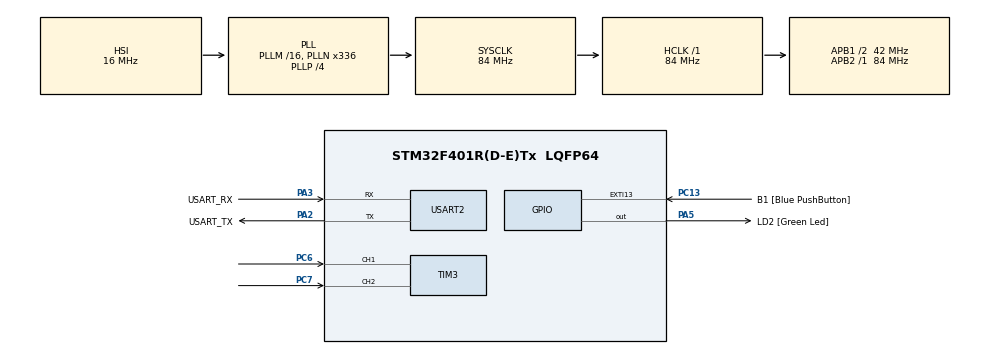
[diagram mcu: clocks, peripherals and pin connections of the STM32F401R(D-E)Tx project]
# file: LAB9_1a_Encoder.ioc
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Mcu.Family=STM32F4
Mcu.Name=STM32F401R(D-E)Tx
Mcu.Package=LQFP64
NVIC.PriorityGroup=NVIC_PRIORITYGROUP_0
NVIC.TIM3_IRQn=true\:0\:0\:false\:false\:true\:true\:true\:true
PA13.GPIO_Label=TMS
PA13.Mode=Serial_Wire
PA13.Signal=SYS_JTMS-SWDIO
PA14.GPIO_Label=TCK
PA14.Mode=Serial_Wire
PA14.Signal=SYS_JTCK-SWCLK
PA2.GPIO_Label=USART_TX
PA2.GPIO_Mode=GPIO_MODE_AF_PP
PA2.GPIO_PuPd=GPIO_NOPULL
PA2.GPIO_Speed=GPIO_SPEED_FREQ_LOW
PA2.Mode=Asynchronous
PA2.Signal=USART2_TX
PA3.GPIO_Label=USART_RX
PA3.GPIO_Mode=GPIO_MODE_AF_PP
PA3.GPIO_PuPd=GPIO_NOPULL
PA3.GPIO_Speed=GPIO_SPEED_FREQ_LOW
PA3.Mode=Asynchronous
PA3.Signal=USART2_RX
PA5.GPIO_Label=LD2 [Green Led]
PA5.GPIO_Mode=GPIO_MODE_OUTPUT_PP
PA5.GPIO_PuPd=GPIO_NOPULL
PA5.GPIO_Speed=GPIO_SPEED_FREQ_LOW
PA5.Signal=GPIO_Output
PB3.GPIO_Label=SWO
PB3.Signal=SYS_JTDO-SWO
PC13-ANTI_TAMP.GPIO_Label=B1 [Blue PushButton]
PC13-ANTI_TAMP.GPIO_ModeDefaultEXTI=GPIO_MODE_IT_FALLING
PC13-ANTI_TAMP.GPIO_PuPd=GPIO_NOPULL
PC13-ANTI_TAMP.Signal=GPXTI13
PC14-OSC32_IN.Mode=LSE-External-Oscillator
PC14-OSC32_IN.Signal=RCC_OSC32_IN
PC15-OSC32_OUT.Mode=LSE-External-Oscillator
PC15-OSC32_OUT.Signal=RCC_OSC32_OUT
PC6.Signal=S_TIM3_CH1
PC7.Signal=S_TIM3_CH2
PH0\ -\ OSC_IN.Mode=HSE-External-Clock-Source
PH0\ -\ OSC_IN.Signal=RCC_OSC_IN
PH1\ -\ OSC_OUT.Mode=HSE-External-Clock-Source
PH1\ -\ OSC_OUT.Signal=RCC_OSC_OUT
ProjectManager.HeapSize=0x200
ProjectManager.StackSize=0x400
ProjectManager.TargetToolchain=STM32CubeIDE
RCC.48MHZClocksFreq_Value=48000000
RCC.AHBFreq_Value=84000000
RCC.APB1CLKDivider=RCC_HCLK_DIV2
RCC.APB1Freq_Value=42000000
RCC.APB1TimFreq_Value=84000000
RCC.APB2Freq_Value=84000000
RCC.APB2TimFreq_Value=84000000
RCC.CortexFreq_Value=84000000
RCC.HCLKFreq_Value=84000000
RCC.HSE_VALUE=8000000
RCC.HSI_VALUE=16000000
RCC.PLLN=336
RCC.PLLP=RCC_PLLP_DIV4
RCC.PLLQ=7
RCC.SYSCLKFreq_VALUE=84000000
RCC.SYSCLKSource=RCC_SYSCLKSOURCE_PLLCLK
RCC.VCOOutputFreq_Value=336000000
SH.S_TIM3_CH1.0=TIM3_CH1,Encoder_Interface
SH.S_TIM3_CH2.0=TIM3_CH2,Encoder_Interface
TIM3.ClockDivision=TIM_CLOCKDIVISION_DIV4
TIM3.IC1Filter=15
TIM3.IC1Polarity=TIM_ICPOLARITY_FALLING
TIM3.IC2Filter=15
USART2.VirtualMode=VM_ASYNC
board=NUCLEO-F401RE

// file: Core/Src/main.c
/* USER CODE BEGIN Header */
/**
  ******************************************************************************
  * @file           : main.c
  * @brief          : Main program body
  ******************************************************************************
  * @attention
  *
  * Copyright (c) 2022 STMicroelectronics.
  * All rights reserved.
  *
  * This software is licensed under terms that can be found in the LICENSE file
  * in the root directory of this software component.
  * If no LICENSE file comes with this software, it is provided AS-IS.
  *
  ******************************************************************************
  */
/* USER CODE END Header */
#include "main.h"

TIM_HandleTypeDef htim3;

UART_HandleTypeDef huart2;

void SystemClock_Config(void);
static void MX_GPIO_Init(void);
static void MX_USART2_UART_Init(void);
static void MX_TIM3_Init(void);

int main(void)
{

  /* MCU Configuration--------------------------------------------------------*/

  /* Reset of all peripherals, Initializes the Flash interface and the Systick. */
  HAL_Init();

  /* Configure the system clock */
  SystemClock_Config();

  /* Initialize all configured peripherals */
  MX_GPIO_Init();
  MX_USART2_UART_Init();
  MX_TIM3_Init();
  /* USER CODE BEGIN 2 */

  uint32_t count_old = 0;
  uint32_t count_new = 0;
  int delta;
  int rpm;
  char str[64];
  int len;

  //TIM_CHANNEL_ALL to use all the channels of the encoders
  HAL_TIM_Encoder_Start(&htim3, TIM_CHANNEL_ALL);

  /* USER CODE END 2 */

  /* Infinite loop */
  /* USER CODE BEGIN WHILE */
  while (1)
  {
	  count_old = count_new;
	  count_new = __HAL_TIM_GET_COUNTER(&htim3);

	  delta = count_new - count_old;

	  //underflow
	  if( delta > 32768){
		  delta -= 65536;	//sub FSR
	  }
	  else if(delta < -32768){
		  //overflow
		  delta += 65536;	//add FSR
	  }

	  rpm = delta * 60 / 24;

	  len = snprintf(str, sizeof(str), "Rpm: %d \r\n", rpm);
	  HAL_UART_Transmit(&huart2, str, len, 50);

	  HAL_Delay(1000);

    /* USER CODE END WHILE */

  }
}

void SystemClock_Config(void)
{
  RCC_OscInitTypeDef RCC_OscInitStruct = {0};
  RCC_ClkInitTypeDef RCC_ClkInitStruct = {0};

  /** Configure the main internal regulator output voltage
  */
  __HAL_RCC_PWR_CLK_ENABLE();
  __HAL_PWR_VOLTAGESCALING_CONFIG(PWR_REGULATOR_VOLTAGE_SCALE2);

  /** Initializes the RCC Oscillators according to the specified parameters
  * in the RCC_OscInitTypeDef structure.
  */
  RCC_OscInitStruct.OscillatorType = RCC_OSCILLATORTYPE_HSI;
  RCC_OscInitStruct.HSIState = RCC_HSI_ON;
  RCC_OscInitStruct.HSICalibrationValue = RCC_HSICALIBRATION_DEFAULT;
  RCC_OscInitStruct.PLL.PLLState = RCC_PLL_ON;
  RCC_OscInitStruct.PLL.PLLSource = RCC_PLLSOURCE_HSI;
  RCC_OscInitStruct.PLL.PLLM = 16;
  RCC_OscInitStruct.PLL.PLLN = 336;
  RCC_OscInitStruct.PLL.PLLP = RCC_PLLP_DIV4;
  RCC_OscInitStruct.PLL.PLLQ = 7;
  if (HAL_RCC_OscConfig(&RCC_OscInitStruct) != HAL_OK)
  {
    Error_Handler();
  }

  /** Initializes the CPU, AHB and APB buses clocks
  */
  RCC_ClkInitStruct.ClockType = RCC_CLOCKTYPE_HCLK|RCC_CLOCKTYPE_SYSCLK
                              |RCC_CLOCKTYPE_PCLK1|RCC_CLOCKTYPE_PCLK2;
  RCC_ClkInitStruct.SYSCLKSource = RCC_SYSCLKSOURCE_PLLCLK;
  RCC_ClkInitStruct.AHBCLKDivider = RCC_SYSCLK_DIV1;
  RCC_ClkInitStruct.APB1CLKDivider = RCC_HCLK_DIV2;
  RCC_ClkInitStruct.APB2CLKDivider = RCC_HCLK_DIV1;

  if (HAL_RCC_ClockConfig(&RCC_ClkInitStruct, FLASH_LATENCY_2) != HAL_OK)
  {
    Error_Handler();
  }
}

static void MX_TIM3_Init(void)
{

  TIM_Encoder_InitTypeDef sConfig = {0};
  TIM_MasterConfigTypeDef sMasterConfig = {0};

  htim3.Instance = TIM3;
  htim3.Init.Prescaler = 0;
  htim3.Init.CounterMode = TIM_COUNTERMODE_UP;
  htim3.Init.Period = 65535;
  htim3.Init.ClockDivision = TIM_CLOCKDIVISION_DIV4;
  htim3.Init.AutoReloadPreload = TIM_AUTORELOAD_PRELOAD_DISABLE;
  sConfig.EncoderMode = TIM_ENCODERMODE_TI1;
  sConfig.IC1Polarity = TIM_ICPOLARITY_FALLING;
  sConfig.IC1Selection = TIM_ICSELECTION_DIRECTTI;
  sConfig.IC1Prescaler = TIM_ICPSC_DIV1;
  sConfig.IC1Filter = 15;
  sConfig.IC2Polarity = TIM_ICPOLARITY_RISING;
  sConfig.IC2Selection = TIM_ICSELECTION_DIRECTTI;
  sConfig.IC2Prescaler = TIM_ICPSC_DIV1;
  sConfig.IC2Filter = 15;
  if (HAL_TIM_Encoder_Init(&htim3, &sConfig) != HAL_OK)
  {
    Error_Handler();
  }
  sMasterConfig.MasterOutputTrigger = TIM_TRGO_RESET;
  sMasterConfig.MasterSlaveMode = TIM_MASTERSLAVEMODE_DISABLE;
  if (HAL_TIMEx_MasterConfigSynchronization(&htim3, &sMasterConfig) != HAL_OK)
  {
    Error_Handler();
  }

}

static void MX_USART2_UART_Init(void)
{

  huart2.Instance = USART2;
  huart2.Init.BaudRate = 115200;
  huart2.Init.WordLength = UART_WORDLENGTH_8B;
  huart2.Init.StopBits = UART_STOPBITS_1;
  huart2.Init.Parity = UART_PARITY_NONE;
  huart2.Init.Mode = UART_MODE_TX_RX;
  huart2.Init.HwFlowCtl = UART_HWCONTROL_NONE;
  huart2.Init.OverSampling = UART_OVERSAMPLING_16;
  if (HAL_UART_Init(&huart2) != HAL_OK)
  {
    Error_Handler();
  }

}

static void MX_GPIO_Init(void)
{
  GPIO_InitTypeDef GPIO_InitStruct = {0};

  /* GPIO Ports Clock Enable */
  __HAL_RCC_GPIOC_CLK_ENABLE();
  __HAL_RCC_GPIOH_CLK_ENABLE();
  __HAL_RCC_GPIOA_CLK_ENABLE();
  __HAL_RCC_GPIOB_CLK_ENABLE();

  /*Configure GPIO pin Output Level */
  HAL_GPIO_WritePin(LD2_GPIO_Port, LD2_Pin, GPIO_PIN_RESET);

  /*Configure GPIO pin : B1_Pin */
  GPIO_InitStruct.Pin = B1_Pin;
  GPIO_InitStruct.Mode = GPIO_MODE_IT_FALLING;
  GPIO_InitStruct.Pull = GPIO_NOPULL;
  HAL_GPIO_Init(B1_GPIO_Port, &GPIO_InitStruct);

  /*Configure GPIO pin : LD2_Pin */
  GPIO_InitStruct.Pin = LD2_Pin;
  GPIO_InitStruct.Mode = GPIO_MODE_OUTPUT_PP;
  GPIO_InitStruct.Pull = GPIO_NOPULL;
  GPIO_InitStruct.Speed = GPIO_SPEED_FREQ_LOW;
  HAL_GPIO_Init(LD2_GPIO_Port, &GPIO_InitStruct);

}

void Error_Handler(void)
{
  __disable_irq();
  while (1)
  {
  }
}
